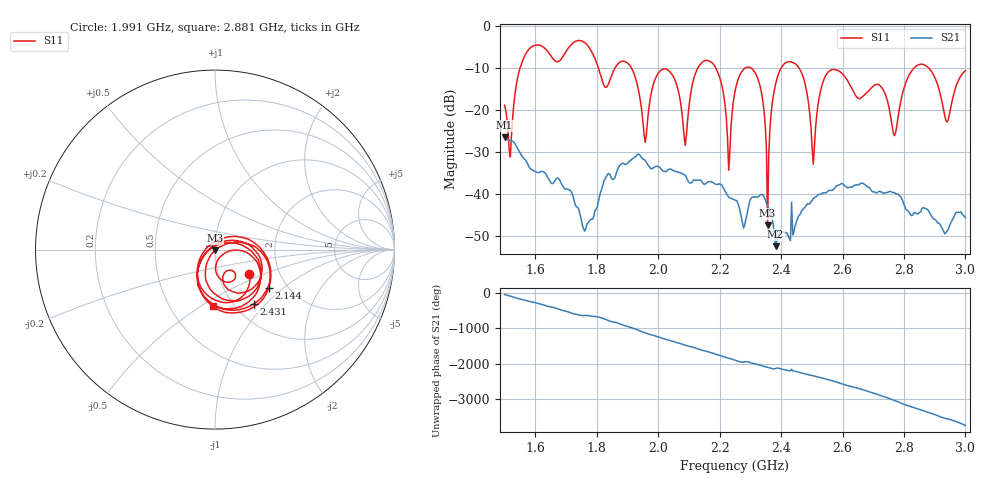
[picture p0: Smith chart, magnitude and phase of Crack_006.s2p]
# HZ S RI R 50
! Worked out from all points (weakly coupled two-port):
!   404 points, 1.5 GHz to 3 GHz, reference 50 ohm
!   highest |S21| = -26.60 dB at 1.5 GHz (marker M1); lowest = -52.5 dB at 2.382 GHz (marker M2)
!   lowest |S11| = -47.5 dB at 2.356 GHz (marker M3), VSWR 1.01, Z = 50 - j0.421 ohm
!   |S11| at or under -10 dB: 1.912 GHz to 2.13 GHz (217.3 MHz wide, 10.8 % of centre); 2.458 GHz to 2.834 GHz (376.2 MHz wide, 14.2 % of centre); 2.879 GHz to end of sweep (the widest 3 of 7)
!   S12 and S22 are empty: the file has one direction only
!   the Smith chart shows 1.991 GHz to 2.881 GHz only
!   S11 on the Smith chart (normalised r, x): 1.991 GHz: 1.40, -0.41; 2.144 GHz: 1.61, -0.80; 2.431 GHz: 1.22, -0.86; 2.881 GHz: 0.80, -0.56
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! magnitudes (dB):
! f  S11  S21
! 1.5 GHz  -18.9  -26.6
! 1.519 GHz  -31.2  -27.4
! 1.586 GHz  -5.2  -34.1
! 1.753 GHz  -3.7  -47.5
! 1.909 GHz  -9.7  -32.1
! 1.958 GHz  -27.8  -32.1
! 1.991 GHz  -12.5  -33.4
! 2.002 GHz  -11.1  -33.6
! 2.088 GHz  -28.5  -35.6
! 2.144 GHz  -8.7  -37.3
! 2.23 GHz  -34.4  -40.8
! 2.252 GHz  -15.0  -41.5
! 2.319 GHz  -11.6  -40.7
! 2.356 GHz  -47.5  -42.9
! 2.382 GHz  -13.9  -52.5
! 2.431 GHz  -8.6  -51.1
! 2.501 GHz  -29.2  -41.6
! 2.565 GHz  -10.5  -39.2
! 2.751 GHz  -19.2  -39.5
! 2.881 GHz  -10.1  -44.1
! 2.94 GHz  -22.9  -48.8
! 3 GHz  -10.7  -45.7
